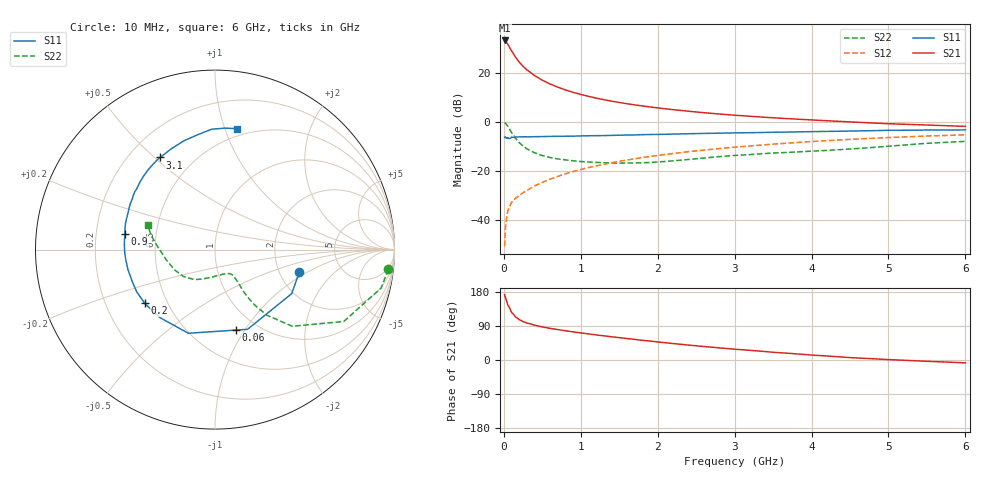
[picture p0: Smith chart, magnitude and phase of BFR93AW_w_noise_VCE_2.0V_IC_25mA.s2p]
! Infineon Technologies  Discrete & RF Semiconductors
! BFR93AW
! VCE =  2.0 V,  IC =  25 mA
! Common Emitter S-Parameters:  Jan 2017
# GHz  S  MA  R  50
!  f  S11  S21  S12  S22
! GHz  MAG  ANG  MAG  ANG  MAG  ANG  MAG  ANG
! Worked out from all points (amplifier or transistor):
!   77 points, 10 MHz to 6 GHz, reference 50 ohm
!   highest |S21| = 33.2 dB at 10 MHz (marker M1)
!   |S21| within 3 dB of that: start of sweep to 77.36 MHz
!   unconditionally stable (mu >= 1): 551.9 MHz to 2.19 GHz
!   at 130 MHz: K = 0.52, MSG = 29.7 dB, |S12| = -31.8 dB
!   at 2.2 GHz: K = 1.00, MSG = 8.9 dB, |S12| = -12.9 dB
!   at 6 GHz: K = 0.91, MSG = 1.7 dB, |S12| = -5.3 dB
!   lowest NFmin = 1.66 dB at 450 MHz
!   S11 on the Smith chart (normalised r, x): 10 MHz: 2.56, -0.86; 60 MHz: 0.80, -0.91; 200 MHz: 0.37, -0.30; 900 MHz: 0.33, +0.08; 3.1 GHz: 0.33, +0.52; 6 GHz: 0.43, +1.10
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0.01  0.4862 -15.2  45.75 172.3  0.0029 84.8  0.9719 -6.5
0.02  0.4926 -29.9  45.29 165.1  0.0065 80.8  0.9499 -13.1
0.05  0.4797 -67.8  38.72 145.9  0.0149 67.9  0.8214 -29.2
0.06  0.4631 -75.6  36.29 142.8  0.0164 65.3  0.7745 -31.6
0.1  0.4893 -107.7  28.09 125.5  0.0227 58.6  0.606 -44.8
0.15  0.488 -129.4  21 113.9  0.0275 56.2  0.4636 -51.8
0.2  0.4929 -142.6  16.52 106.6  0.0313 57.6  0.3762 -54.5
0.25  0.4954 -151.7  13.56 101.3  0.0358 58.6  0.3205 -55.5
0.3  0.4942 -157.9  11.45 97.6  0.0397 60.0  0.2803 -55.8
0.4  0.4977 -167.1  8.76 91.7  0.0492 63.7  0.233 -55.1
0.5  0.5004 -173.6  7.058 87.3  0.0581 66.1  0.2048 -54.9
0.6  0.5036 -178.7  5.934 83.5  0.0675 66.7  0.1872 -54.8
0.7  0.5056 177.1  5.106 80.3  0.0767 67.9  0.175 -55.1
0.9  0.5097 170.1  3.997 74.2  0.0965 68.5  0.1603 -57.7
1.1  0.5195 163.7  3.313 68.9  0.1168 68.2  0.1515 -61.6
1.3  0.5242 158.3  2.828 63.8  0.1358 67.5  0.1464 -67.0
1.5  0.5333 153.5  2.479 59.0  0.1561 66.4  0.1434 -74.1
2.1  0.5574 139.9  1.846 45.6  0.2159 61.6  0.1554 -97.9
3.1  0.5972 120.7  1.331 27.0  0.3125 52.0  0.2101 -129.7
4.1  0.634 104.0  1.072 11.8  0.4043 41.2  0.2561 -156.8
5.1  0.672 90.3  0.903 0.2  0.4841 30.1  0.3265 175.3
6  0.6844 79.9  0.808 -7.5  0.5432 20.0  0.399 159.8
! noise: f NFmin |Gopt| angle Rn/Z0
0.45  1.66  0.17  171  0.16
0.9  1.93  0.25  -177  0.16
1.9  2.93  0.49  -136  0.25
2.4  3.59  0.55  -125  0.5
